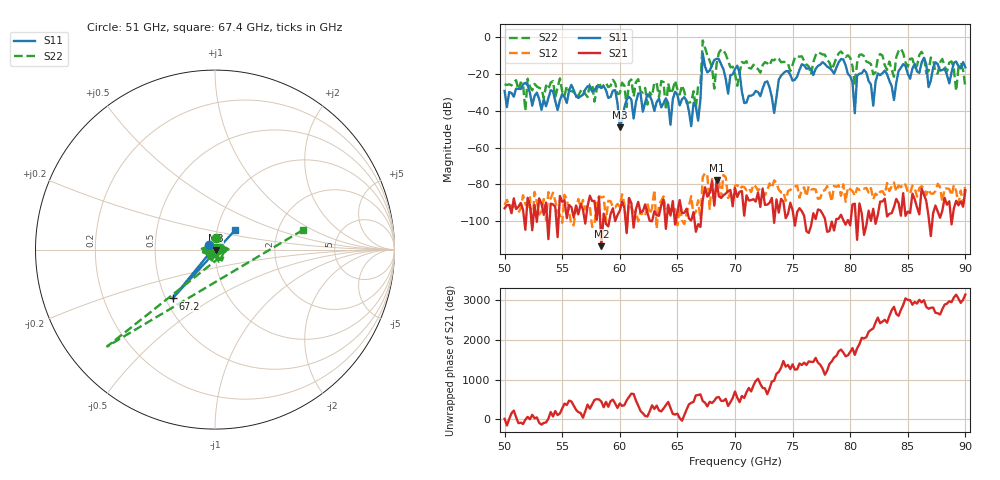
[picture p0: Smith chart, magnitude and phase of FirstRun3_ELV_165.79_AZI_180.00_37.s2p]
! 11/24/2026 3:43:20 PM
! C:\ANRITSUVNA\TEMP\TEMP.S2P
! CHANNEL.1
! TR.MEASUREMENT
! RAW.DATA
# HZ S RI R 50.0
! FREQ.HZ  S11RE  S11IM  S21RE  S21IM  S12RE  S12IM  S22RE  S22IM
!; PortSelection: Port_12
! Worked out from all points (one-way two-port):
!   201 points, 50 GHz to 90 GHz, reference 50 ohm
!   highest |S21| = -77.68 dB at 68.4 GHz (marker M1); lowest = -113.6 dB at 58.4 GHz (marker M2)
!   lowest |S11| = -49.0 dB at 60 GHz (marker M3), VSWR 1.01, Z = 50.3 - j0.165 ohm
!   |S11| at or under -10 dB: start of sweep to 67.19 GHz; 67.23 GHz to end of sweep
!   |S22| runs from -40.0 to -1.9 dB; largest |S21 - S12| = 0.00024
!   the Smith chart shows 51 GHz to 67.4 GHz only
!   S11 on the Smith chart (normalised r, x): 51 GHz: 0.94, +0.05; 67.2 GHz: 0.54, -0.34; 67.4 GHz: 1.22, +0.27
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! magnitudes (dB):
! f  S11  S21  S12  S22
! 50 GHz  -29.3  -93.0  -91.3  -25.6
! 51 GHz  -28.0  -93.4  -92.6  -23.4
! 51.8 GHz  -24.9  -104.6  -90.7  -40.0
! 52 GHz  -26.1  -87.3  -92.3  -22.7
! 56.8 GHz  -31.4  -93.6  -88.5  -28.1
! 58.4 GHz  -27.6  -113.6  -87.1  -27.7
! 60 GHz  -49.0  -94.3  -92.1  -30.6
! 63.4 GHz  -33.4  -97.1  -91.2  -32.6
! 66.8 GHz  -45.4  -101.6  -88.7  -26.5
! 67.2 GHz  -8.9  -88.4  -76.1  -1.9
! 67.4 GHz  -16.1  -81.5  -73.8  -5.9
! 68.4 GHz  -11.8  -77.7  -79.9  -14.7
! 69.4 GHz  -30.7  -83.7  -87.4  -12.9
! 70 GHz  -17.4  -82.1  -80.7  -19.9
! 73.4 GHz  -41.2  -100.9  -77.8  -12.7
! 74.2 GHz  -19.7  -89.4  -84.0  -13.5
! 76.8 GHz  -20.6  -95.6  -82.6  -13.6
! 79.4 GHz  -12.2  -99.4  -80.0  -9.4
! 80.4 GHz  -41.4  -90.5  -86.2  -26.2
! 80.6 GHz  -21.0  -110.1  -82.1  -14.0
! 83.4 GHz  -23.7  -96.0  -83.7  -13.3
! 90 GHz  -16.4  -83.2  -79.8  -27.4
